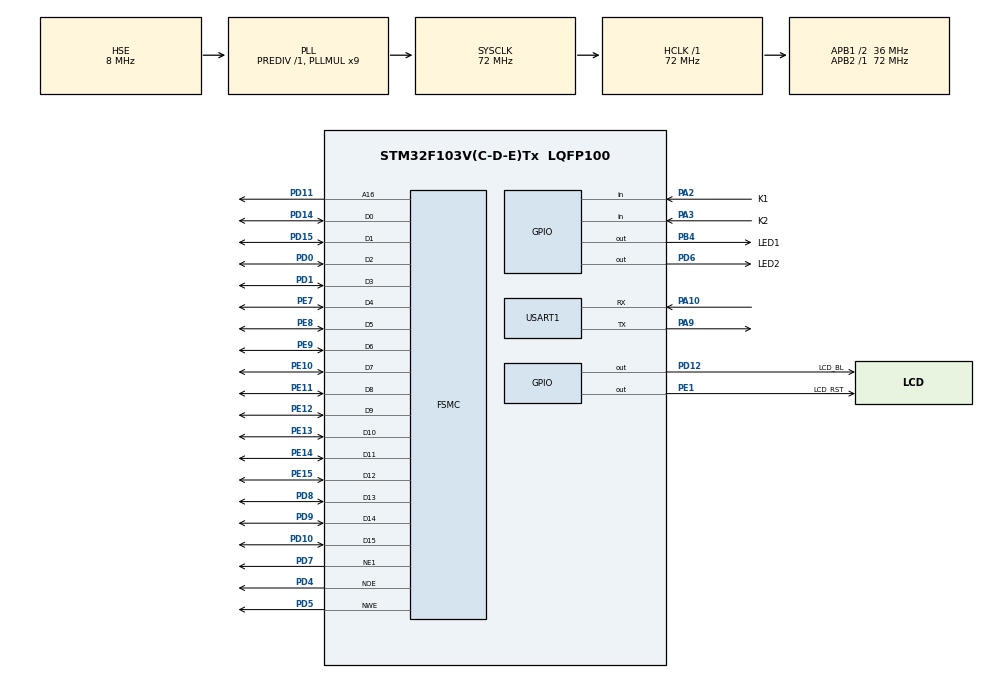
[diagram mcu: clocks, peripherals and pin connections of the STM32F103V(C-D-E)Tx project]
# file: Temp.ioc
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Mcu.Family=STM32F1
Mcu.Name=STM32F103V(C-D-E)Tx
Mcu.Package=LQFP100
NVIC.PriorityGroup=NVIC_PRIORITYGROUP_4
NVIC.USART1_IRQn=true\:0\:0\:false\:false\:true\:true\:true\:true
OSC_IN.Mode=HSE-External-Oscillator
OSC_IN.Signal=RCC_OSC_IN
OSC_OUT.Mode=HSE-External-Oscillator
OSC_OUT.Signal=RCC_OSC_OUT
PA10.Mode=Asynchronous
PA10.Signal=USART1_RX
PA13.Mode=Serial_Wire
PA13.Signal=SYS_JTMS-SWDIO
PA14.Mode=Serial_Wire
PA14.Signal=SYS_JTCK-SWCLK
PA2.GPIO_Label=K1
PA2.Signal=GPIO_Input
PA3.GPIO_Label=K2
PA3.Signal=GPIO_Input
PA9.Mode=Asynchronous
PA9.Signal=USART1_TX
PB4.GPIO_Label=LED1
PB4.GPIO_ModeDefaultOutputPP=GPIO_MODE_OUTPUT_PP
PB4.GPIO_PuPd=GPIO_PULLUP
PB4.GPIO_Speed=GPIO_SPEED_FREQ_HIGH
PB4.PinState=GPIO_PIN_SET
PB4.Signal=GPIO_Output
PC14-OSC32_IN.Mode=LSE-External-Oscillator
PC14-OSC32_IN.Signal=RCC_OSC32_IN
PC15-OSC32_OUT.Mode=LSE-External-Oscillator
PC15-OSC32_OUT.Signal=RCC_OSC32_OUT
PD0.Mode=16b-d1
PD0.Signal=FSMC_D2
PD1.Mode=16b-d1
PD1.Signal=FSMC_D3
PD10.Mode=16b-d1
PD10.Signal=FSMC_D15
PD11.Mode=A16_1
PD11.Signal=FSMC_A16
PD12.GPIO_Label=LCD_BL
PD12.GPIO_ModeDefaultOutputPP=GPIO_MODE_OUTPUT_PP
PD12.GPIO_PuPd=GPIO_PULLUP
PD12.GPIO_Speed=GPIO_SPEED_FREQ_HIGH
PD12.PinState=GPIO_PIN_SET
PD12.Signal=GPIO_Output
PD14.Mode=16b-d1
PD14.Signal=FSMC_D0
PD15.Mode=16b-d1
PD15.Signal=FSMC_D1
PD4.Mode=Lcd1
PD4.Signal=FSMC_NOE
PD5.Mode=Lcd1
PD5.Signal=FSMC_NWE
PD6.GPIO_Label=LED2
PD6.GPIO_ModeDefaultOutputPP=GPIO_MODE_OUTPUT_PP
PD6.GPIO_PuPd=GPIO_PULLUP
PD6.GPIO_Speed=GPIO_SPEED_FREQ_HIGH
PD6.PinState=GPIO_PIN_SET
PD6.Signal=GPIO_Output
PD7.Mode=NorPsramChipSelect1_1
PD7.Signal=FSMC_NE1
PD8.Mode=16b-d1
PD8.Signal=FSMC_D13
PD9.Mode=16b-d1
PD9.Signal=FSMC_D14
PE1.GPIO_Label=LCD_RST
PE1.GPIO_ModeDefaultOutputPP=GPIO_MODE_OUTPUT_PP
PE1.GPIO_PuPd=GPIO_PULLUP
PE1.GPIO_Speed=GPIO_SPEED_FREQ_HIGH
PE1.PinState=GPIO_PIN_SET
PE1.Signal=GPIO_Output
PE10.Mode=16b-d1
PE10.Signal=FSMC_D7
PE11.Mode=16b-d1
PE11.Signal=FSMC_D8
PE12.Mode=16b-d1
PE12.Signal=FSMC_D9
PE13.Mode=16b-d1
PE13.Signal=FSMC_D10
PE14.Mode=16b-d1
PE14.Signal=FSMC_D11
PE15.Mode=16b-d1
PE15.Signal=FSMC_D12
PE7.Mode=16b-d1
PE7.Signal=FSMC_D4
PE8.Mode=16b-d1
PE8.Signal=FSMC_D5
PE9.Mode=16b-d1
PE9.Signal=FSMC_D6
ProjectManager.HeapSize=0x200
ProjectManager.StackSize=0x400
ProjectManager.TargetToolchain=Makefile
RCC.AHBFreq_Value=72000000
RCC.APB1CLKDivider=RCC_HCLK_DIV2
RCC.APB1Freq_Value=36000000
RCC.APB1TimFreq_Value=72000000
RCC.APB2Freq_Value=72000000
RCC.APB2TimFreq_Value=72000000
RCC.HCLKFreq_Value=72000000
RCC.PLLMUL=RCC_PLL_MUL9
RCC.PLLSourceVirtual=RCC_PLLSOURCE_HSE
RCC.RCC_MCOSource=RCC_MCO1SOURCE_PLLCLK
RCC.SYSCLKFreq_VALUE=72000000
RCC.SYSCLKSource=RCC_SYSCLKSOURCE_PLLCLK
RCC.USBFreq_Value=72000000
USART1.VirtualMode=VM_ASYNC
board=custom

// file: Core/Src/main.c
/* USER CODE BEGIN Header */
/**
  ******************************************************************************
  * @file           : main.c
  * @brief          : Main program body
  ******************************************************************************
  * @attention
  *
  * Copyright (c) 2025 STMicroelectronics.
  * All rights reserved.
  *
  * This software is licensed under terms that can be found in the LICENSE file
  * in the root directory of this software component.
  * If no LICENSE file comes with this software, it is provided AS-IS.
  *
  ******************************************************************************
  */
/* USER CODE END Header */
#include "main.h"

/* USER CODE BEGIN Includes */
#include "stdio.h"//printf函数�?
#include "bsp_lcd_driver.h"
/* USER CODE END Includes */

/* USER CODE BEGIN PTD */
uint8_t rx_buff[100];  //接收缓存
uint8_t rx_done = 0; //接收完成标志
uint8_t rx_cnt = 0;//接收数据长度
/* USER CODE END PTD */

UART_HandleTypeDef huart1;

SRAM_HandleTypeDef hsram1;

void SystemClock_Config(void);
static void MX_GPIO_Init(void);
static void MX_USART1_UART_Init(void);
static void MX_FSMC_Init(void);

int main(void)
{

  /* MCU Configuration--------------------------------------------------------*/

  /* Reset of all peripherals, Initializes the Flash interface and the Systick. */
  HAL_Init();

  /* Configure the system clock */
  SystemClock_Config();

  /* Initialize all configured peripherals */
  MX_GPIO_Init();
  MX_USART1_UART_Init();
  MX_FSMC_Init();
  /* USER CODE BEGIN 2 */
	LCD_Init();
  printf("hello,enjoy!\r\n");
  HAL_Delay(1000);
    // 根据型号显示不同颜色
    switch (LCD_DetectModel()) {
        case LCD_ILI9341:
            LCD_FillColor(0xF800); // 红色
						printf("LCD_ILI9341");
            break;
        case LCD_ST7789V:
            LCD_FillColor(0x07E0); // 绿色
						printf("LCD_ST7789V");
            break;
        default:
            LCD_FillColor(0x0000); // 黑色
						printf("LCD_UNKNOW");
            break;
    }
		//红色方块
		LCD_SetWindow(0,0,120,160);
		LCD_FillColor(0xF800);
		//黑色方块
		LCD_SetWindow(120,160,240,320);
		LCD_FillColor(0x0000);
  /* USER CODE END 2 */

  /* Infinite loop */
  while (1)
  {

    /* USER CODE BEGIN 3 */
    if(rx_done == 1)//判读是否接收完成
    {
        rx_done = 0;//清除接收标志
        //数据处理，打印接收长度�?�接收的数据
        printf("length of rx data: %d!\r\n",rx_cnt);
        for(int i = 0;i<rx_cnt;i++) printf("%c",rx_buff[i]);
        printf("\r\n");

        rx_cnt =0;//清除接收长度
    }
    HAL_GPIO_TogglePin(LED1_GPIO_Port, LED1_Pin); // 切换亮�?�灭状�?�，添加此语句防止优�?
  }
  /* USER CODE END 3 */
}

void SystemClock_Config(void)
{
  RCC_OscInitTypeDef RCC_OscInitStruct = {0};
  RCC_ClkInitTypeDef RCC_ClkInitStruct = {0};

  /** Initializes the RCC Oscillators according to the specified parameters
  * in the RCC_OscInitTypeDef structure.
  */
  RCC_OscInitStruct.OscillatorType = RCC_OSCILLATORTYPE_HSE;
  RCC_OscInitStruct.HSEState = RCC_HSE_ON;
  RCC_OscInitStruct.HSEPredivValue = RCC_HSE_PREDIV_DIV1;
  RCC_OscInitStruct.HSIState = RCC_HSI_ON;
  RCC_OscInitStruct.PLL.PLLState = RCC_PLL_ON;
  RCC_OscInitStruct.PLL.PLLSource = RCC_PLLSOURCE_HSE;
  RCC_OscInitStruct.PLL.PLLMUL = RCC_PLL_MUL9;
  if (HAL_RCC_OscConfig(&RCC_OscInitStruct) != HAL_OK)
  {
    Error_Handler();
  }

  /** Initializes the CPU, AHB and APB buses clocks
  */
  RCC_ClkInitStruct.ClockType = RCC_CLOCKTYPE_HCLK|RCC_CLOCKTYPE_SYSCLK
                              |RCC_CLOCKTYPE_PCLK1|RCC_CLOCKTYPE_PCLK2;
  RCC_ClkInitStruct.SYSCLKSource = RCC_SYSCLKSOURCE_PLLCLK;
  RCC_ClkInitStruct.AHBCLKDivider = RCC_SYSCLK_DIV1;
  RCC_ClkInitStruct.APB1CLKDivider = RCC_HCLK_DIV2;
  RCC_ClkInitStruct.APB2CLKDivider = RCC_HCLK_DIV1;

  if (HAL_RCC_ClockConfig(&RCC_ClkInitStruct, FLASH_LATENCY_2) != HAL_OK)
  {
    Error_Handler();
  }
}

static void MX_USART1_UART_Init(void)
{

  huart1.Instance = USART1;
  huart1.Init.BaudRate = 115200;
  huart1.Init.WordLength = UART_WORDLENGTH_8B;
  huart1.Init.StopBits = UART_STOPBITS_1;
  huart1.Init.Parity = UART_PARITY_NONE;
  huart1.Init.Mode = UART_MODE_TX_RX;
  huart1.Init.HwFlowCtl = UART_HWCONTROL_NONE;
  huart1.Init.OverSampling = UART_OVERSAMPLING_16;
  if (HAL_UART_Init(&huart1) != HAL_OK)
  {
    Error_Handler();
  }
  /* USER CODE BEGIN USART1_Init 2 */
  //�?启接收中断，空闲中断
  __HAL_UART_ENABLE_IT(&huart1,UART_IT_IDLE|UART_IT_RXNE);
  /* USER CODE END USART1_Init 2 */

}

static void MX_GPIO_Init(void)
{
  GPIO_InitTypeDef GPIO_InitStruct = {0};

  /* GPIO Ports Clock Enable */
  __HAL_RCC_GPIOC_CLK_ENABLE();
  __HAL_RCC_GPIOA_CLK_ENABLE();
  __HAL_RCC_GPIOE_CLK_ENABLE();
  __HAL_RCC_GPIOD_CLK_ENABLE();
  __HAL_RCC_GPIOB_CLK_ENABLE();

  /*Configure GPIO pin Output Level */
  HAL_GPIO_WritePin(GPIOD, LCD_BL_Pin|LED2_Pin, GPIO_PIN_SET);

  /*Configure GPIO pin Output Level */
  HAL_GPIO_WritePin(LED1_GPIO_Port, LED1_Pin, GPIO_PIN_SET);

  /*Configure GPIO pin Output Level */
  HAL_GPIO_WritePin(LCD_RST_GPIO_Port, LCD_RST_Pin, GPIO_PIN_SET);

  /*Configure GPIO pins : K1_Pin K2_Pin */
  GPIO_InitStruct.Pin = K1_Pin|K2_Pin;
  GPIO_InitStruct.Mode = GPIO_MODE_INPUT;
  GPIO_InitStruct.Pull = GPIO_NOPULL;
  HAL_GPIO_Init(GPIOA, &GPIO_InitStruct);

  /*Configure GPIO pins : LCD_BL_Pin LED2_Pin */
  GPIO_InitStruct.Pin = LCD_BL_Pin|LED2_Pin;
  GPIO_InitStruct.Mode = GPIO_MODE_OUTPUT_PP;
  GPIO_InitStruct.Pull = GPIO_PULLUP;
  GPIO_InitStruct.Speed = GPIO_SPEED_FREQ_HIGH;
  HAL_GPIO_Init(GPIOD, &GPIO_InitStruct);

  /*Configure GPIO pin : LED1_Pin */
  GPIO_InitStruct.Pin = LED1_Pin;
  GPIO_InitStruct.Mode = GPIO_MODE_OUTPUT_PP;
  GPIO_InitStruct.Pull = GPIO_PULLUP;
  GPIO_InitStruct.Speed = GPIO_SPEED_FREQ_HIGH;
  HAL_GPIO_Init(LED1_GPIO_Port, &GPIO_InitStruct);

  /*Configure GPIO pin : LCD_RST_Pin */
  GPIO_InitStruct.Pin = LCD_RST_Pin;
  GPIO_InitStruct.Mode = GPIO_MODE_OUTPUT_PP;
  GPIO_InitStruct.Pull = GPIO_PULLUP;
  GPIO_InitStruct.Speed = GPIO_SPEED_FREQ_HIGH;
  HAL_GPIO_Init(LCD_RST_GPIO_Port, &GPIO_InitStruct);

}

/* FSMC initialization function */
static void MX_FSMC_Init(void)
{

  FSMC_NORSRAM_TimingTypeDef Timing = {0};

  /** Perform the SRAM1 memory initialization sequence
  */
  hsram1.Instance = FSMC_NORSRAM_DEVICE;
  hsram1.Extended = FSMC_NORSRAM_EXTENDED_DEVICE;
  /* hsram1.Init */
  hsram1.Init.NSBank = FSMC_NORSRAM_BANK1;
  hsram1.Init.DataAddressMux = FSMC_DATA_ADDRESS_MUX_DISABLE;
  hsram1.Init.MemoryType = FSMC_MEMORY_TYPE_SRAM;
  hsram1.Init.MemoryDataWidth = FSMC_NORSRAM_MEM_BUS_WIDTH_16;
  hsram1.Init.BurstAccessMode = FSMC_BURST_ACCESS_MODE_DISABLE;
  hsram1.Init.WaitSignalPolarity = FSMC_WAIT_SIGNAL_POLARITY_LOW;
  hsram1.Init.WrapMode = FSMC_WRAP_MODE_DISABLE;
  hsram1.Init.WaitSignalActive = FSMC_WAIT_TIMING_BEFORE_WS;
  hsram1.Init.WriteOperation = FSMC_WRITE_OPERATION_ENABLE;
  hsram1.Init.WaitSignal = FSMC_WAIT_SIGNAL_DISABLE;
  hsram1.Init.ExtendedMode = FSMC_EXTENDED_MODE_DISABLE;
  hsram1.Init.AsynchronousWait = FSMC_ASYNCHRONOUS_WAIT_DISABLE;
  hsram1.Init.WriteBurst = FSMC_WRITE_BURST_DISABLE;
  /* Timing */
  Timing.AddressSetupTime = 15;
  Timing.AddressHoldTime = 15;
  Timing.DataSetupTime = 255;
  Timing.BusTurnAroundDuration = 15;
  Timing.CLKDivision = 16;
  Timing.DataLatency = 17;
  Timing.AccessMode = FSMC_ACCESS_MODE_A;
  /* ExtTiming */

  if (HAL_SRAM_Init(&hsram1, &Timing, NULL) != HAL_OK)
  {
    Error_Handler( );
  }

  /** Disconnect NADV
  */

  __HAL_AFIO_FSMCNADV_DISCONNECTED();

}

/* USER CODE BEGIN 4 */
#ifdef __GNUC__
#define PUTCHAR_PROTOTYPE int __io_putchar(int ch)
#else
#define PUTCHAR_PROTOTYPE int fputc(int ch,FILE *f)
#endif /* __GNUC__ */
//重定向printf函数
PUTCHAR_PROTOTYPE
{
    HAL_UART_Transmit(&huart1,(uint8_t *)&ch,1,HAL_MAX_DELAY);//输出指向串口USART1
    return ch;
}
/* USER CODE END 4 */

void Error_Handler(void)
{
  __disable_irq();
  while (1)
  {
  }
}
